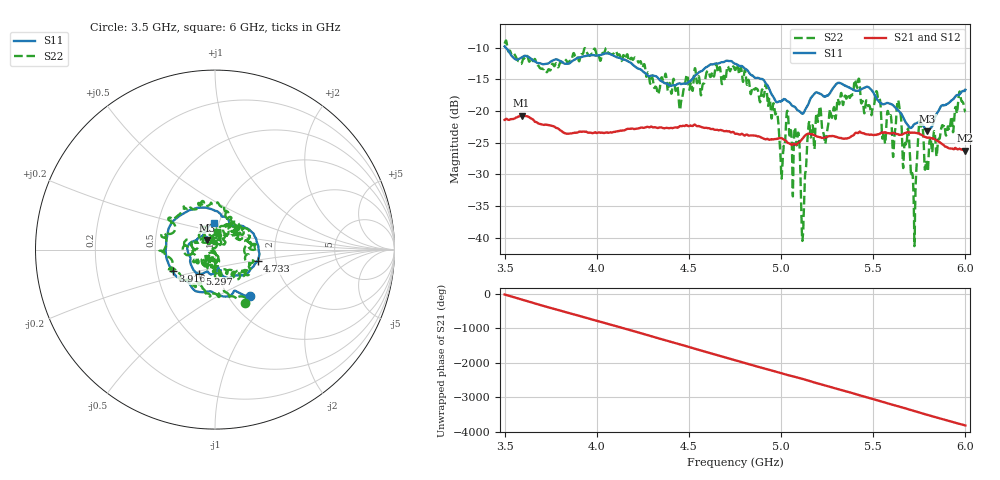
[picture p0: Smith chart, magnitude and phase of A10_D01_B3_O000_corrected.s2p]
! Created with skrf 1.9.0 (http://scikit-rf.org).
# Hz S RI R 50.0
!freq ReS11 ImS11 ReS21 ImS21 ReS12 ImS12 ReS22 ImS22
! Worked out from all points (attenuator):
!   1601 points, 3.5 GHz to 6 GHz, reference 50 ohm
!   highest |S21| = -20.75 dB at 3.592 GHz (marker M1); lowest = -26.2 dB at 5.997 GHz (marker M2)
!   lowest |S11| = -23.2 dB at 5.794 GHz (marker M3), VSWR 1.15, Z = 45.5 + j4.88 ohm
!   |S11| at or under -10 dB: 3.505 GHz to end of sweep
!   |S22| runs from -41.3 to -8.9 dB; largest |S21 - S12| = 0.0013
!   S11 on the Smith chart (normalised r, x): 3.5 GHz: 1.25, -0.72; 3.916 GHz: 0.60, -0.16; 4.733 GHz: 1.60, -0.22; 5.297 GHz: 0.81, -0.23; 6 GHz: 0.94, +0.28
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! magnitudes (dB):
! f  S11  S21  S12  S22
! 3.5 GHz  -9.8  -21.4  -21.4  -9.4
! 3.592 GHz  -11.6  -20.8  -20.8  -12.5
! 3.916 GHz  -11.5  -23.3  -23.3  -11.1
! 3.917 GHz  -11.5  -23.3  -23.3  -11.0
! 4.334 GHz  -14.9  -22.7  -22.6  -17.3
! 4.733 GHz  -12.2  -23.4  -23.4  -13.5
! 4.75 GHz  -12.6  -23.6  -23.5  -13.5
! 4.925 GHz  -15.9  -24.4  -24.4  -17.9
! 5.005 GHz  -18.4  -24.3  -24.3  -29.9
! 5.036 GHz  -18.5  -25.0  -25.0  -20.1
! 5.086 GHz  -19.8  -25.2  -25.2  -25.2
! 5.117 GHz  -20.4  -24.3  -24.3  -40.0
! 5.167 GHz  -17.7  -23.7  -23.7  -22.8
! 5.297 GHz  -15.8  -24.1  -24.1  -21.0
! 5.411 GHz  -16.8  -23.5  -23.5  -16.1
! 5.584 GHz  -18.8  -23.5  -23.5  -20.5
! 5.641 GHz  -20.1  -23.8  -23.7  -19.1
! 5.717 GHz  -22.3  -23.4  -23.4  -32.0
! 5.756 GHz  -21.8  -23.7  -23.7  -22.2
! 5.794 GHz  -23.2  -24.2  -24.2  -29.1
! 5.997 GHz  -16.8  -26.2  -26.2  -19.9
! 6 GHz  -16.7  -26.2  -26.2  -20.1
